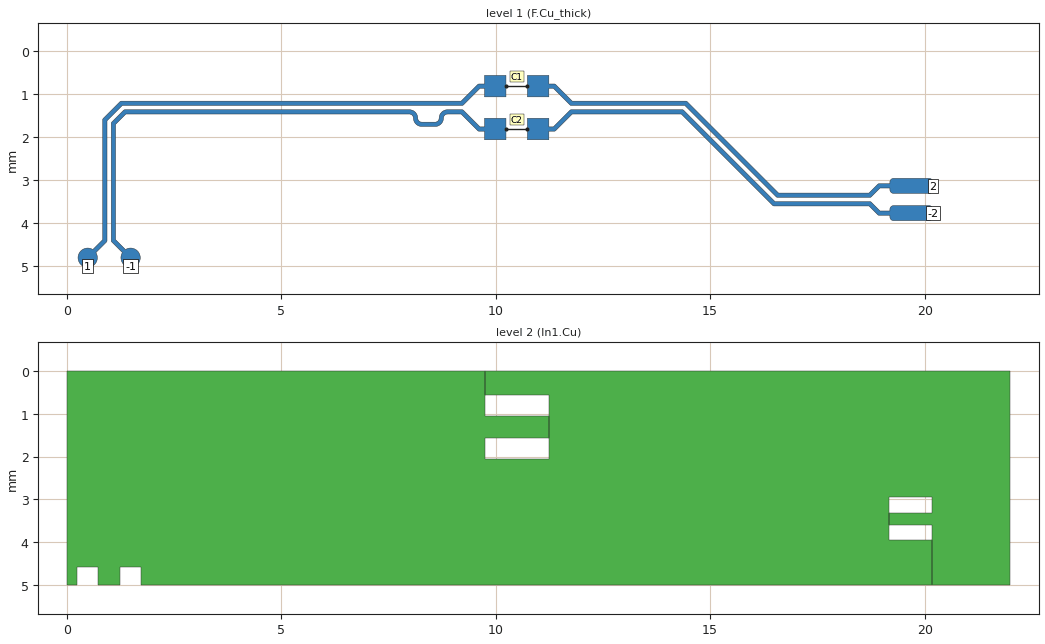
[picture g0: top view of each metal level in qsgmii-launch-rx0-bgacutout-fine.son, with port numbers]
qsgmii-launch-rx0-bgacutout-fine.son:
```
FTYP SONPROJ 19 ! Sonnet Project File
VER 18.56
HEADER
LIC antikernel2.1.65565
DAT 12/19/2024 11:25:38
BUILT_BY_CREATED xgeom 18.52 11/18/2021 20:28:07
BUILT_BY_SAVED sonnet 18.56
MDATE 12/19/2024 10:50:45
HDATE 12/19/2024 10:50:45
ANN Created by dxfgeo, Sonnet Software Inc.
END HEADER
DIM
ANG DEG
CAP PF
CON /OH
FREQ GHZ
IND NH
LNG MM
RES OH
END DIM
CONTROL
VARSWP
OPTIONS  -dj
SPEED 1
CACHE_ABS 2
Q_ACC N
END CONTROL
GEO
TMET "Free Space" 0 FREESPACE 376.7303136 0 0 0
BMET "Free Space" 0 FREESPACE 376.7303136 0 0 0
MET "Copper_1oz_thin" 1 NOR 58000000 0.5 0.035 
MET "Copper_1oz_thick" 2 TMM 58000000 0.5 0.035 2
MET "Copper_1oz_thick_down" 3 TMM 58000000 0.5 0.035 2 CDVY TDWN
MET "Copper_0.5oz_thin" 4 NOR 58000000 0.5 0.017 
MET "Copper_0.5oz_thick" 12 TMM 58000000 0.5 0.017 2
MET "Copper_0.5oz_thick_down" 5 TMM 58000000 0.5 0.017 2 CDVY TDWN
BOX 8 22 5 4400 1000 20 0
      5 1 1 0 0 0 0 "Air"
      0.04 3.5 1 0.025 0 0 0 "Soldermask"
      0.076 4.49 1 0.016 0 0 0 "Shengyi_S1000-2M"
      0.1 4.49 1 0.016 0 0 0 "Shengyi_S1000-2M"
      1.038 4.49 1 0.016 0 0 0 "Shengyi_S1000-2M"
      0.1 4.49 1 0.016 0 0 0 "Shengyi_S1000-2M"
      0.076 4.49 1 0.016 0 0 0 "Shengyi_S1000-2M"
      0.04 3.5 1 0.025 0 0 0 "Soldermask"
      5 1 1 0 0 0 0 "Air"
TECHLAY METAL F.Cu_thick L1D0 -2 -65534 CAD F.Cu_thick drawing 
1 0 1 N 1683 1 1 100 100 0 0 0 Y
END
END
TECHLAY METAL F.Cu_thin <UNSPECIFIED> -1 -65534 CAD F.Cu_thin drawing 
1 0 0 N 1691 1 1 100 100 0 0 0 Y
END
END
TECHLAY VIA Via1 L7D0 -13 -65534 CAD Via1 drawing 
VIA POLYGON
1 0 -1 N 1738 1 1 100 100 0 0 0 Y
TOLEVEL 6 RING NOCOVERS
END
END
TECHLAY METAL In1.Cu L2D0 -3 -65534 CAD In1.Cu drawing 
2 0 0 N 1700 1 1 100 100 0 0 0 Y
END
END
TECHLAY METAL In2.Cu_thin L3D0 -4 -65534 CAD In2.Cu drawing 
3 0 3 N 1703 1 1 100 100 0 0 0 Y
END
END
TECHLAY METAL In2.Cu_thick <UNSPECIFIED> -5 -65534 CAD In2.Cu_thick drawing 
3 0 4 N 1705 1 1 100 100 0 0 0 Y
END
END
TECHLAY METAL In3.Cu_thin L4D0 -8 -65534 CAD In5.Cu drawing 
4 0 3 N 1708 1 1 100 100 0 0 0 Y
END
END
TECHLAY METAL In4.Cu L5D0 -10 -65534 CAD In6.Cu drawing 
5 0 0 N 1711 1 1 100 100 0 0 0 Y
END
END
TECHLAY METAL B.Cu_thick L6D0 -12 -65534 CAD B.Cu_thick drawing 
6 0 2 N 1714 1 1 100 100 0 0 0 Y
END
END
TECHLAY METAL B.Cu_thin <UNSPECIFIED> -11 -65534 CAD B.Cu_thin drawing 
6 0 0 N 1716 1 1 100 100 0 0 0 Y
END
END
TECHLAY METAL In3.Cu_thick <UNSPECIFIED> -9 -65534 CAD In5.Cu_thick drawing 
8 0 5 N 1720 1 1 100 100 0 0 0 Y
END
END
LORGN 0 5 U 
POR1 CUP Auto
GNDREF AUTO
TERMW FEED
POLY 14 1
52
2 100 0 0 0 20.19 3.134 
CUPGRP "Auto" LOCAL
ID 1736
END
POR1 CUP Auto
GNDREF AUTO
TERMW FEED
POLY 15 1
57
-2 100 0 0 0 20.19 3.769 
CUPGRP "Auto" LOCAL
ID 1737
END
POR1 BOX
POLY 1533 1
285
-1 100 0 0 0 1.49 5 
POR1 BOX
POLY 1534 1
90
1 100 0 0 0 0.49 5 
SMD 1 "C1"
ID 1563
GNDREF FLOAT
DRP1 LEFT NONE 1
DRP1 RIGHT NONE 1
SBOX 10.365 10.615 0.7715 0.8465
PBSHW N
LPOS 10.49 0.7715
TYPE IDEAL CAP 100000
SMDP 1 10.24 0.809 L 3 1 
EXSMDP
GNDREF FLOAT
TERMW FEED
END EXSMDP
SMDP 1 10.74 0.809 R 4 2 
EXSMDP
GNDREF FLOAT
TERMW FEED
END EXSMDP
END
SMD 1 "C2"
ID 1568
GNDREF FLOAT
DRP1 RIGHT NONE 1
DRP1 LEFT NONE 1
SBOX 10.365 10.615 1.7715 1.8465
PBSHW N
LPOS 10.49 1.7715
TYPE IDEAL CAP 100000
SMDP 1 10.24 1.809 L 5 1 
EXSMDP
GNDREF FLOAT
TERMW FEED
END EXSMDP
SMDP 1 10.74 1.809 R 6 2 
EXSMDP
GNDREF FLOAT
TERMW FEED
END EXSMDP
END
NUM 5
1 109 1 N 14 1 1 100 100 0 0 0 Y
TLAYNAM F.Cu_thick INH
10.74 0.559
11.24 0.559
11.24 0.759
11.372 0.759
11.377 0.76
11.382 0.762
11.386 0.764
11.391 0.766
11.399 0.772
11.786 1.159
14.438 1.159
14.443 1.16
14.453 1.164
14.454 1.165
14.457 1.166
14.465 1.172
16.595 3.302
18.701 3.302
18.906 3.097
18.914 3.091
18.919 3.089
18.923 3.087
18.928 3.085
18.933 3.084
19.19 3.084
19.19 3.042
19.191 3.034
19.193 3.025
19.195 3.017
19.198 3.009
19.202 3.002
19.207 2.994
19.225 2.976
19.233 2.971
19.24 2.967
19.248 2.964
19.256 2.962
19.265 2.96
19.273 2.959
20.107 2.959
20.115 2.96
20.124 2.962
20.132 2.964
20.14 2.967
20.147 2.971
20.155 2.976
20.173 2.994
20.178 3.002
20.182 3.009
20.185 3.017
20.187 3.025
20.189 3.034
20.19 3.042
20.19 3.226
20.189 3.234
20.187 3.243
20.185 3.251
20.182 3.259
20.178 3.266
20.173 3.274
20.155 3.292
20.147 3.297
20.14 3.301
20.132 3.304
20.124 3.306
20.115 3.308
20.107 3.309
19.273 3.309
19.265 3.308
19.256 3.306
19.248 3.304
19.24 3.301
19.233 3.297
19.225 3.292
19.207 3.274
19.202 3.266
19.198 3.259
19.195 3.251
19.193 3.243
19.191 3.234
19.19 3.226
19.19 3.184
18.961 3.184
18.756 3.389
18.748 3.395
18.745 3.396
18.744 3.397
18.734 3.401
18.729 3.402
16.566 3.402
16.561 3.401
16.557 3.399
16.552 3.397
16.548 3.395
16.536 3.386
16.533 3.382
14.41 1.259
11.757 1.259
11.752 1.258
11.748 1.256
11.743 1.254
11.739 1.252
11.727 1.243
11.724 1.239
11.344 0.859
11.24 0.859
11.24 1.059
10.74 1.059
10.74 0.559
END
1 113 1 N 15 1 1 100 100 0 0 0 Y
TLAYNAM F.Cu_thick INH
10.74 1.559
11.24 1.559
11.24 1.759
11.344 1.759
11.731 1.372
11.739 1.366
11.744 1.364
11.748 1.362
11.753 1.36
11.758 1.359
14.356 1.359
14.361 1.36
14.366 1.362
14.37 1.364
14.375 1.366
14.383 1.372
14.386 1.375
14.389 1.379
16.512 3.502
18.715 3.502
18.72 3.501
18.725 3.501
18.735 3.503
18.739 3.504
18.744 3.506
18.748 3.509
18.752 3.511
18.756 3.514
18.961 3.719
19.19 3.719
19.19 3.677
19.191 3.669
19.193 3.66
19.195 3.652
19.198 3.644
19.202 3.637
19.207 3.629
19.225 3.611
19.233 3.606
19.24 3.602
19.248 3.599
19.256 3.597
19.265 3.595
19.273 3.594
20.107 3.594
20.115 3.595
20.124 3.597
20.132 3.599
20.14 3.602
20.147 3.606
20.155 3.611
20.173 3.629
20.178 3.637
20.182 3.644
20.185 3.652
20.187 3.66
20.189 3.669
20.19 3.677
20.19 3.861
20.189 3.869
20.187 3.878
20.185 3.886
20.182 3.894
20.178 3.901
20.173 3.909
20.155 3.927
20.147 3.932
20.14 3.936
20.132 3.939
20.124 3.941
20.115 3.943
20.107 3.944
19.273 3.944
19.265 3.943
19.256 3.941
19.248 3.939
19.24 3.936
19.233 3.932
19.225 3.927
19.207 3.909
19.202 3.901
19.198 3.894
19.195 3.886
19.193 3.878
19.191 3.869
19.19 3.861
19.19 3.819
18.933 3.819
18.928 3.818
18.923 3.816
18.919 3.814
18.914 3.812
18.906 3.806
18.702 3.602
16.483 3.602
16.478 3.601
16.474 3.599
16.469 3.597
16.465 3.595
16.453 3.586
16.45 3.582
14.327 1.459
11.786 1.459
11.399 1.846
11.391 1.852
11.386 1.854
11.382 1.856
11.377 1.858
11.372 1.859
11.24 1.859
11.24 2.059
10.74 2.059
10.74 1.559
END
1 288 1 N 1533 1 1 100 100 0 0 0 Y
TLAYNAM F.Cu_thick INH
1.624 4.99
1.641 4.976
1.657 4.96
1.671 4.943
1.683 4.925
1.693 4.905
1.702 4.885
1.708 4.864
1.713 4.842
1.715 4.82
1.715 4.798
1.713 4.776
1.708 4.754
1.702 4.733
1.693 4.713
1.683 4.693
1.671 4.675
1.657 4.658
1.641 4.642
1.624 4.628
1.606 4.616
1.586 4.606
1.566 4.597
1.545 4.591
1.523 4.586
1.501 4.584
1.479 4.584
1.457 4.586
1.435 4.591
1.414 4.597
1.394 4.606
1.37 4.618
1.14 4.388
1.14 1.7
1.381 1.459
7.996 1.459
8 1.46
8.018 1.465
8.038 1.474
8.041 1.475
8.047 1.48
8.061 1.494
8.07 1.507
8.078 1.524
8.081 1.538
8.083 1.556
8.083 1.563
8.084 1.566
8.085 1.58
8.085 1.586
8.086 1.591
8.088 1.595
8.089 1.596
8.09 1.6
8.092 1.609
8.093 1.614
8.094 1.618
8.094 1.619
8.096 1.624
8.099 1.63
8.104 1.639
8.105 1.643
8.11 1.653
8.11 1.654
8.111 1.655
8.114 1.659
8.124 1.673
8.127 1.678
8.129 1.679
8.13 1.681
8.151 1.702
8.159 1.708
8.16 1.708
8.171 1.716
8.175 1.719
8.178 1.722
8.183 1.725
8.21 1.737
8.215 1.739
8.219 1.74
8.224 1.741
8.236 1.744
8.242 1.746
8.247 1.747
8.257 1.747
8.266 1.748
8.271 1.749
8.595 1.749
8.597 1.748
8.614 1.748
8.618 1.747
8.62 1.747
8.625 1.746
8.626 1.746
8.647 1.74
8.651 1.739
8.653 1.739
8.658 1.737
8.662 1.735
8.665 1.733
8.683 1.724
8.688 1.722
8.692 1.719
8.693 1.718
8.707 1.708
8.712 1.705
8.713 1.703
8.715 1.702
8.715 1.701
8.719 1.698
8.722 1.694
8.728 1.689
8.732 1.686
8.736 1.682
8.739 1.678
8.756 1.654
8.759 1.649
8.761 1.645
8.762 1.642
8.766 1.632
8.768 1.628
8.77 1.623
8.772 1.619
8.78 1.59
8.781 1.585
8.781 1.575
8.782 1.566
8.783 1.562
8.783 1.556
8.785 1.536
8.791 1.516
8.796 1.506
8.814 1.485
8.824 1.476
8.842 1.467
8.86 1.461
8.885 1.459
9.194 1.459
9.581 1.846
9.589 1.852
9.594 1.854
9.598 1.856
9.603 1.858
9.608 1.859
9.74 1.859
9.74 2.059
10.24 2.059
10.24 1.559
9.74 1.559
9.74 1.759
9.636 1.759
9.249 1.372
9.241 1.366
9.236 1.364
9.232 1.362
9.227 1.36
9.222 1.359
8.871 1.359
8.867 1.36
8.866 1.36
8.843 1.362
8.842 1.362
8.838 1.363
8.816 1.37
8.815 1.37
8.811 1.371
8.801 1.375
8.795 1.378
8.781 1.386
8.777 1.388
8.772 1.39
8.764 1.396
8.764 1.397
8.742 1.414
8.739 1.417
8.733 1.425
8.733 1.426
8.725 1.436
8.723 1.437
8.72 1.44
8.714 1.448
8.698 1.478
8.696 1.482
8.694 1.491
8.694 1.492
8.689 1.509
8.687 1.514
8.686 1.519
8.684 1.542
8.684 1.543
8.683 1.547
8.683 1.552
8.681 1.57
8.678 1.586
8.67 1.602
8.665 1.61
8.647 1.628
8.634 1.637
8.616 1.645
8.614 1.646
8.611 1.647
8.608 1.647
8.595 1.649
8.285 1.649
8.262 1.647
8.244 1.643
8.237 1.64
8.236 1.639
8.218 1.627
8.204 1.613
8.196 1.602
8.189 1.585
8.184 1.568
8.183 1.557
8.183 1.552
8.181 1.532
8.181 1.523
8.18 1.518
8.172 1.489
8.17 1.485
8.168 1.48
8.166 1.476
8.165 1.475
8.162 1.467
8.161 1.464
8.159 1.46
8.156 1.455
8.155 1.454
8.142 1.436
8.142 1.435
8.136 1.427
8.115 1.406
8.113 1.405
8.112 1.403
8.087 1.386
8.083 1.384
8.073 1.38
8.072 1.38
8.063 1.375
8.057 1.372
8.052 1.37
8.051 1.37
8.047 1.369
8.042 1.368
8.034 1.366
8.032 1.365
8.029 1.364
8.025 1.362
8.02 1.361
8.013 1.361
8 1.36
7.997 1.359
1.352 1.359
1.348 1.36
1.338 1.364
1.334 1.366
1.326 1.372
1.053 1.645
1.047 1.653
1.045 1.657
1.041 1.667
1.04 1.672
1.04 4.417
1.041 4.421
1.043 4.426
1.045 4.43
1.045 4.431
1.047 4.435
1.053 4.443
1.299 4.689
1.287 4.713
1.278 4.733
1.272 4.754
1.267 4.776
1.265 4.798
1.265 4.82
1.267 4.842
1.272 4.864
1.278 4.885
1.287 4.905
1.297 4.925
1.309 4.943
1.323 4.96
1.339 4.976
1.356 4.99
1.371 5
1.609 5
1.624 4.99
END
1 93 1 N 1534 1 1 100 100 0 0 0 Y
TLAYNAM F.Cu_thick INH
0.624 4.99
0.641 4.976
0.657 4.96
0.671 4.943
0.683 4.925
0.693 4.905
0.702 4.885
0.708 4.864
0.713 4.842
0.715 4.82
0.715 4.798
0.713 4.776
0.708 4.754
0.702 4.733
0.693 4.713
0.681 4.689
0.927 4.443
0.933 4.435
0.935 4.43
0.937 4.426
0.939 4.421
0.94 4.416
0.94 1.617
1.298 1.259
9.223 1.259
9.227 1.258
9.232 1.256
9.236 1.254
9.237 1.254
9.241 1.252
9.249 1.246
9.636 0.859
9.74 0.859
9.74 1.059
10.24 1.059
10.24 0.559
9.74 0.559
9.74 0.759
9.608 0.759
9.603 0.76
9.598 0.762
9.594 0.764
9.589 0.766
9.581 0.772
9.194 1.159
1.27 1.159
1.265 1.16
1.255 1.164
1.251 1.166
1.243 1.172
0.853 1.562
0.847 1.57
0.845 1.574
0.845 1.575
0.843 1.579
0.841 1.584
0.84 1.588
0.84 4.388
0.61 4.618
0.586 4.606
0.566 4.597
0.545 4.591
0.523 4.586
0.501 4.584
0.479 4.584
0.457 4.586
0.435 4.591
0.414 4.597
0.394 4.606
0.374 4.616
0.356 4.628
0.339 4.642
0.323 4.658
0.309 4.675
0.297 4.693
0.287 4.713
0.278 4.733
0.272 4.754
0.267 4.776
0.265 4.798
0.265 4.82
0.267 4.842
0.272 4.864
0.278 4.885
0.287 4.905
0.297 4.925
0.309 4.943
0.323 4.96
0.339 4.976
0.356 4.99
0.371 5
0.609 5
0.624 4.99
END
2 41 0 N 1667 1 1 100 100 0 0 0 Y
TLAYNAM In1.Cu INH
22 0
9.74 0
9.74 0.559
11.24 0.559
11.24 1.059
11.24 1.559
11.24 1.559
11.24 2.059
9.74 2.059
9.74 1.559
11.24 1.559
11.24 1.059
9.74 1.059
9.74 0.559
9.74 0
0 0
0 5
0.25 5
0.25 4.584
0.725 4.584
0.725 5
1.25 5
1.25 4.584
1.725 4.584
1.725 5
20.175 5
20.175 3.95
19.175 3.95
19.175 3.594
19.175 3.309
19.175 3.309
19.175 2.95
20.175 2.95
20.175 3.309
19.175 3.309
19.175 3.594
20.175 3.594
20.175 3.95
20.175 5
22 5
22 0
END
END GEO
OPT
MAX 100
END OPT
VARSWP
ENABLED Y
FREQ Y AY ABS_ENTRY 0.01 20.0 -1 300 
END
END VARSWP
```
